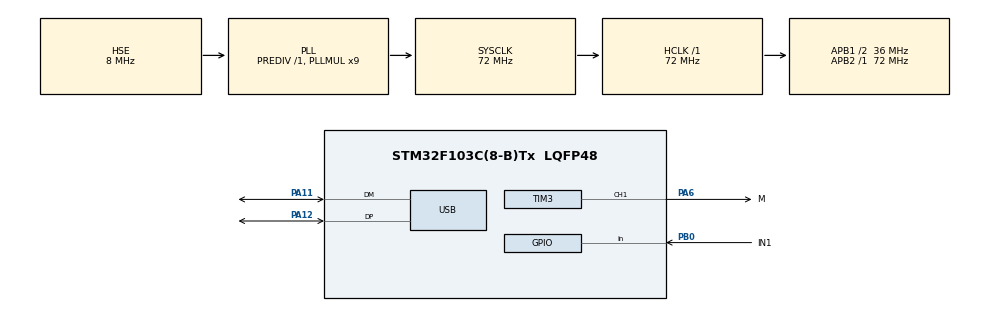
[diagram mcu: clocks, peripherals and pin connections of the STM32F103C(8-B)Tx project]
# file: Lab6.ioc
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Mcu.Family=STM32F1
Mcu.Name=STM32F103C(8-B)Tx
Mcu.Package=LQFP48
NVIC.PriorityGroup=NVIC_PRIORITYGROUP_4
NVIC.RCC_IRQn=true\:0\:0\:false\:false\:true\:true\:false
NVIC.TIM2_IRQn=true\:0\:0\:false\:false\:true\:true\:true
NVIC.TIM3_IRQn=true\:0\:0\:false\:false\:true\:true\:true
NVIC.USB_LP_CAN1_RX0_IRQn=true\:0\:0\:false\:false\:true\:true\:true
PA11.Mode=Device
PA11.Signal=USB_DM
PA12.Mode=Device
PA12.Signal=USB_DP
PA13.Mode=Serial_Wire
PA13.Signal=SYS_JTMS-SWDIO
PA14.Mode=Serial_Wire
PA14.Signal=SYS_JTCK-SWCLK
PA6.GPIO_Label=M
PA6.Signal=S_TIM3_CH1
PB0.GPIO_Label=IN1
PB0.Signal=GPIO_Input
PD0-OSC_IN.Mode=HSE-External-Oscillator
PD0-OSC_IN.Signal=RCC_OSC_IN
PD1-OSC_OUT.Mode=HSE-External-Oscillator
PD1-OSC_OUT.Signal=RCC_OSC_OUT
ProjectManager.HeapSize=0x200
ProjectManager.StackSize=0x400
ProjectManager.TargetToolchain=TrueSTUDIO
RCC.AHBFreq_Value=72000000
RCC.APB1CLKDivider=RCC_HCLK_DIV2
RCC.APB1Freq_Value=36000000
RCC.APB1TimFreq_Value=72000000
RCC.APB2Freq_Value=72000000
RCC.APB2TimFreq_Value=72000000
RCC.HCLKFreq_Value=72000000
RCC.PLLMUL=RCC_PLL_MUL9
RCC.PLLSourceVirtual=RCC_PLLSOURCE_HSE
RCC.SYSCLKFreq_VALUE=72000000
RCC.SYSCLKSource=RCC_SYSCLKSOURCE_PLLCLK
RCC.USBFreq_Value=48000000
RCC.USBPrescaler=RCC_USBCLKSOURCE_PLL_DIV1_5
SH.S_TIM3_CH1.0=TIM3_CH1,PWM Generation1 CH1
TIM2.Period=1
TIM2.Prescaler=35999
TIM3.Channel-PWM\ Generation1\ CH1=TIM_CHANNEL_1
TIM3.Period=100
TIM3.Prescaler=71
USB_DEVICE.CLASS_NAME_FS=CDC
USB_DEVICE.VirtualMode=Cdc
USB_DEVICE.VirtualModeFS=Cdc_FS
VP_TIM2_VS_ClockSourceINT.Mode=Internal
VP_TIM3_VS_ClockSourceINT.Mode=Internal
VP_USB_DEVICE_VS_USB_DEVICE_CDC_FS.Mode=CDC_FS
board=custom

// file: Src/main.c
/* USER CODE BEGIN Header */
/**
  ******************************************************************************
  * @file           : main.c
  * @brief          : Main program body
  ******************************************************************************
  * @attention
  *
  * <h2><center>&copy; Copyright (c) 2019 STMicroelectronics.
  * All rights reserved.</center></h2>
  *
  * This software component is licensed by ST under Ultimate Liberty license
  * SLA0044, the "License"; You may not use this file except in compliance with
  * the License. You may obtain a copy of the License at:
  *                             www.st.com/SLA0044
  *
  ******************************************************************************
  */
/* USER CODE END Header */

#include "main.h"
#include "usb_device.h"

/* USER CODE BEGIN Includes */
#include "usbd_cdc_if.h"
#include <string.h>
/* USER CODE END Includes */

TIM_HandleTypeDef htim2;
TIM_HandleTypeDef htim3;

/* USER CODE BEGIN PV */
volatile uint16_t cont=0,cont1,cont1_1;

#define start 0x6D 				/*Byte de start*/
#define end 0x29 				/*Byte de end*/
#define setact 0x01 			/*Byt de seteo de hora*/
#define chpwm 0x02			/*Byte de seteo de alarma*/
#define recibido 0x03			/*Byte de recepcióm-comando*/
const uint8_t starte=start;
const uint8_t ende=end;
const uint8_t recibidoe=recibido;
const uint8_t tamano=0x0D;
const uint8_t rOKH=0x66;		/*Byte de recepción buena*/
const uint8_t rOKA=0x77;		/*Byte de recepción buena*/
const uint8_t rNR=0x88;			/*Byte de alarma encendida*/
const uint8_t rBAD=0x99;		/*Byte de recepción mala*/
const uint8_t AlON=0x33;		/*Byte de alarma encendida*/

/* USER CODE END PV */

void SystemClock_Config(void);
static void MX_GPIO_Init(void);
static void MX_TIM2_Init(void);
static void MX_TIM3_Init(void);
/* USER CODE BEGIN PFP */

/*----------------USB----------------------*/
void txOK(uint8_t com);
void txOK2(uint32_t com);

/* USER CODE END PFP */

/* USER CODE BEGIN 0 */
uint8_t activo=0,dc=0,bt=0;
uint16_t tact=0;
/* USER CODE END 0 */

int main(void)
{

  /* MCU Configuration--------------------------------------------------------*/

  /* Reset of all peripherals, Initializes the Flash interface and the Systick. */
  HAL_Init();

  /* Configure the system clock */
  SystemClock_Config();

  /* Initialize all configured peripherals */
  MX_GPIO_Init();
  MX_TIM2_Init();
  MX_USB_DEVICE_Init();
  MX_TIM3_Init();

  /* Infinite loop */
  /* USER CODE BEGIN WHILE */
  HAL_TIM_Base_Start_IT( &htim2 );
  HAL_TIM_Base_Start_IT( &htim3 );
  HAL_TIM_PWM_Start(&htim3,TIM_CHANNEL_1);
  __HAL_TIM_SET_COMPARE(&htim3,TIM_CHANNEL_1,dc);
  uint8_t ban1=0,l1=0,j=1;
  volatile uint32_t f1=0;
  volatile float f2=0;
  while (1)
  {
	  if(cont1_1>=100){
		  f2=(float)(f1)*((float)10/j);
		  if(j>10){
				j=1;
				f1=0;
		  }else{
			  j=j+1;
		  }
		  cont1_1=0;
	  }
	  if(HAL_GPIO_ReadPin(GPIOB,IN1_Pin)==1){
		  if(ban1==0){
			  f1++;
			  ban1=1;
			  l1=0;
		  }
	  }else{
		  ban1=0;
		  if(l1==0){
		  	  l1=1;
		  }
	  }
		if(activo==1){
			activo=0;
			txOK2((uint32_t)f2*1000);
		}
		if(cont<tact && bt==1){
			__HAL_TIM_SET_COMPARE(&htim3,TIM_CHANNEL_1,dc);
  	  	  }else{
  	  		  bt=0;
  	  		  __HAL_TIM_SET_COMPARE(&htim3,TIM_CHANNEL_1,0);
  	  	  }
    /* USER CODE END WHILE */

  }
}

void SystemClock_Config(void)
{
  RCC_OscInitTypeDef RCC_OscInitStruct = {0};
  RCC_ClkInitTypeDef RCC_ClkInitStruct = {0};
  RCC_PeriphCLKInitTypeDef PeriphClkInit = {0};

  /** Initializes the CPU, AHB and APB busses clocks
  */
  RCC_OscInitStruct.OscillatorType = RCC_OSCILLATORTYPE_HSE;
  RCC_OscInitStruct.HSEState = RCC_HSE_ON;
  RCC_OscInitStruct.HSEPredivValue = RCC_HSE_PREDIV_DIV1;
  RCC_OscInitStruct.HSIState = RCC_HSI_ON;
  RCC_OscInitStruct.PLL.PLLState = RCC_PLL_ON;
  RCC_OscInitStruct.PLL.PLLSource = RCC_PLLSOURCE_HSE;
  RCC_OscInitStruct.PLL.PLLMUL = RCC_PLL_MUL9;
  if (HAL_RCC_OscConfig(&RCC_OscInitStruct) != HAL_OK)
  {
    Error_Handler();
  }
  /** Initializes the CPU, AHB and APB busses clocks
  */
  RCC_ClkInitStruct.ClockType = RCC_CLOCKTYPE_HCLK|RCC_CLOCKTYPE_SYSCLK
                              |RCC_CLOCKTYPE_PCLK1|RCC_CLOCKTYPE_PCLK2;
  RCC_ClkInitStruct.SYSCLKSource = RCC_SYSCLKSOURCE_PLLCLK;
  RCC_ClkInitStruct.AHBCLKDivider = RCC_SYSCLK_DIV1;
  RCC_ClkInitStruct.APB1CLKDivider = RCC_HCLK_DIV2;
  RCC_ClkInitStruct.APB2CLKDivider = RCC_HCLK_DIV1;

  if (HAL_RCC_ClockConfig(&RCC_ClkInitStruct, FLASH_LATENCY_2) != HAL_OK)
  {
    Error_Handler();
  }
  PeriphClkInit.PeriphClockSelection = RCC_PERIPHCLK_USB;
  PeriphClkInit.UsbClockSelection = RCC_USBCLKSOURCE_PLL_DIV1_5;
  if (HAL_RCCEx_PeriphCLKConfig(&PeriphClkInit) != HAL_OK)
  {
    Error_Handler();
  }
}

static void MX_TIM2_Init(void)
{

  TIM_ClockConfigTypeDef sClockSourceConfig = {0};
  TIM_MasterConfigTypeDef sMasterConfig = {0};

  htim2.Instance = TIM2;
  htim2.Init.Prescaler = 35999;
  htim2.Init.CounterMode = TIM_COUNTERMODE_UP;
  htim2.Init.Period = 1;
  htim2.Init.ClockDivision = TIM_CLOCKDIVISION_DIV1;
  htim2.Init.AutoReloadPreload = TIM_AUTORELOAD_PRELOAD_DISABLE;
  if (HAL_TIM_Base_Init(&htim2) != HAL_OK)
  {
    Error_Handler();
  }
  sClockSourceConfig.ClockSource = TIM_CLOCKSOURCE_INTERNAL;
  if (HAL_TIM_ConfigClockSource(&htim2, &sClockSourceConfig) != HAL_OK)
  {
    Error_Handler();
  }
  sMasterConfig.MasterOutputTrigger = TIM_TRGO_RESET;
  sMasterConfig.MasterSlaveMode = TIM_MASTERSLAVEMODE_DISABLE;
  if (HAL_TIMEx_MasterConfigSynchronization(&htim2, &sMasterConfig) != HAL_OK)
  {
    Error_Handler();
  }

}

static void MX_TIM3_Init(void)
{

  TIM_ClockConfigTypeDef sClockSourceConfig = {0};
  TIM_MasterConfigTypeDef sMasterConfig = {0};
  TIM_OC_InitTypeDef sConfigOC = {0};

  htim3.Instance = TIM3;
  htim3.Init.Prescaler = 71;
  htim3.Init.CounterMode = TIM_COUNTERMODE_UP;
  htim3.Init.Period = 100;
  htim3.Init.ClockDivision = TIM_CLOCKDIVISION_DIV1;
  htim3.Init.AutoReloadPreload = TIM_AUTORELOAD_PRELOAD_DISABLE;
  if (HAL_TIM_Base_Init(&htim3) != HAL_OK)
  {
    Error_Handler();
  }
  sClockSourceConfig.ClockSource = TIM_CLOCKSOURCE_INTERNAL;
  if (HAL_TIM_ConfigClockSource(&htim3, &sClockSourceConfig) != HAL_OK)
  {
    Error_Handler();
  }
  if (HAL_TIM_PWM_Init(&htim3) != HAL_OK)
  {
    Error_Handler();
  }
  sMasterConfig.MasterOutputTrigger = TIM_TRGO_RESET;
  sMasterConfig.MasterSlaveMode = TIM_MASTERSLAVEMODE_DISABLE;
  if (HAL_TIMEx_MasterConfigSynchronization(&htim3, &sMasterConfig) != HAL_OK)
  {
    Error_Handler();
  }
  sConfigOC.OCMode = TIM_OCMODE_PWM1;
  sConfigOC.Pulse = 0;
  sConfigOC.OCPolarity = TIM_OCPOLARITY_HIGH;
  sConfigOC.OCFastMode = TIM_OCFAST_DISABLE;
  if (HAL_TIM_PWM_ConfigChannel(&htim3, &sConfigOC, TIM_CHANNEL_1) != HAL_OK)
  {
    Error_Handler();
  }
  HAL_TIM_MspPostInit(&htim3);

}

static void MX_GPIO_Init(void)
{
  GPIO_InitTypeDef GPIO_InitStruct = {0};

  /* GPIO Ports Clock Enable */
  __HAL_RCC_GPIOD_CLK_ENABLE();
  __HAL_RCC_GPIOA_CLK_ENABLE();
  __HAL_RCC_GPIOB_CLK_ENABLE();

  /*Configure GPIO pin : IN1_Pin */
  GPIO_InitStruct.Pin = IN1_Pin;
  GPIO_InitStruct.Mode = GPIO_MODE_INPUT;
  GPIO_InitStruct.Pull = GPIO_NOPULL;
  HAL_GPIO_Init(IN1_GPIO_Port, &GPIO_InitStruct);

}

/* USER CODE BEGIN 4 */
/*-------------------USB----------------------*/

void CDC_ReceiveCallback(uint8_t *buf, uint32_t len){
	/*if(*buf==1){
		activo=1;
	}*/
	uint16_t lon=*(buf+1);
	volatile uint16_t com=0;
	uint8_t datos[lon],i=0;
	if(*(buf+lon+4)==ende){
		if(*buf==start){
			com=(*buf)^(*(buf+1))^(*(buf+2));
			memcpy(datos,&buf[3],lon);
			for(i=0;i<lon;i++){
				com=com^datos[i];
			}
		if(com==*(buf+lon+3)){
			switch(*(buf+2)){
				case setact:
					activo=1;
					break;
				case chpwm:
					dc=datos[0];
					tact=(*(datos+1)<<8)+(*(datos+2));
					bt=1;
					cont=0;
					break;
				default:
					txOK(rNR);
					break;
			}
		}else{
			txOK(rBAD);
			}
		}
		}else{
			txOK(rBAD);
	}
}

void txOK(uint8_t com){
	uint8_t transm[6]={starte,tamano,recibidoe,com,starte^tamano^recibidoe^com,ende};
	CDC_Transmit_FS(transm,7);
}

void txOK2(uint32_t com){
	uint8_t transm[10]={starte,0x4,setact,com>>24,com>>16,com>>8,com,starte^0x4^setact^com,ende};
	CDC_Transmit_FS(transm,9);
}

/*----------------Reloj-----------------------*/

void HAL_TIM_PeriodElapsedCallback(TIM_HandleTypeDef *htim)
{
	if(htim->Instance==TIM2){
		cont++;
		cont1_1++;
	}
	if(htim->Instance==TIM3){
			cont1++;
		}
}

/* USER CODE END 4 */

void Error_Handler(void)
{
}

/************************ (C) COPYRIGHT STMicroelectronics *****END OF FILE****/
